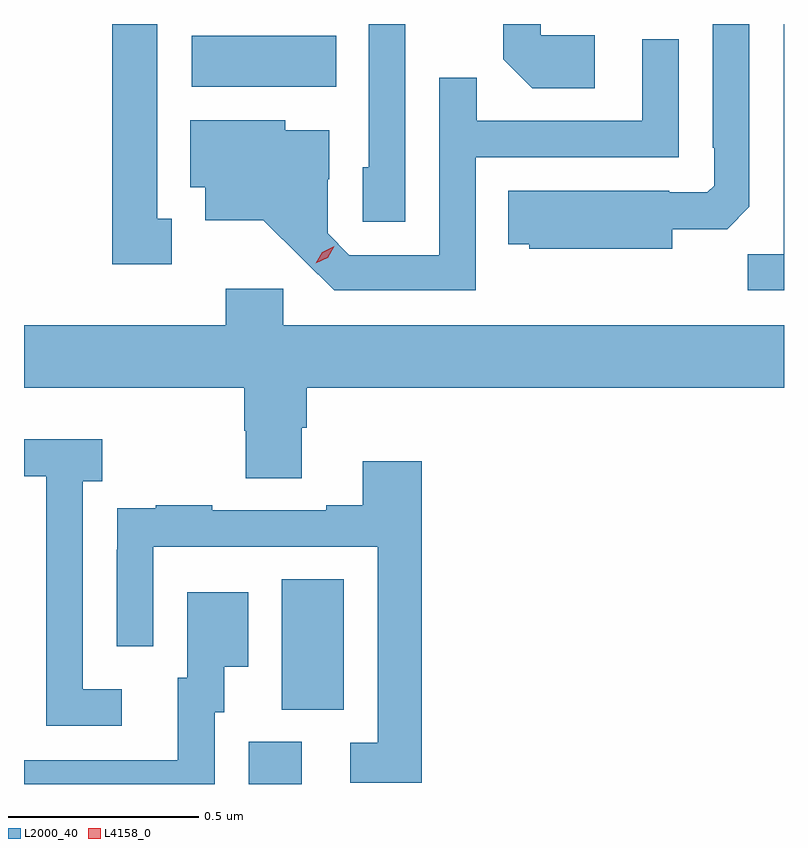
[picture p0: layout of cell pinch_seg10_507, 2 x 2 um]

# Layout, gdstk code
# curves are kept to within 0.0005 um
import gdstk
lib = gdstk.Library(unit=1e-6, precision=1e-09)
def R(c, l, rs):  # rectangles x0, y0, x1, y1
    for r in rs: c.add(gdstk.rectangle(r[:2], r[2:], *l))
def P(c, l, *ps):  # polygons
    for p in ps: c.add(gdstk.Polygon(p, *l))
L2000_40 = (2000, 40)
L4158_0 = (4158, 0)

pinch_seg10_507 = lib.new_cell('pinch_seg10_507')
R(pinch_seg10_507, L2000_40, [(293.813,1288.617,293.953,1288.728), (293.9,1288.813,294.064,1289.156), (293.664,1290.452,294.044,1290.586)])
P(pinch_seg10_507, L2000_40, [(293.611,1290.105),(293.572,1290.105),(293.572,1290.617),(293.454,1290.617),(293.454,1289.985),(293.611,1289.985)],
  [(294.724,1290.588),(294.582,1290.588),(294.582,1290.617),(294.483,1290.617),(294.483,1290.524),(294.559,1290.448),(294.724,1290.448)],
  [(294.225,1290.617),(294.129,1290.617),(294.129,1290.24),(294.114,1290.24),(294.114,1290.097),(294.225,1290.097)],
  [(294.928,1290.077),(295.072,1290.077),(295.131,1290.136),(295.131,1290.617),(295.035,1290.617),(295.035,1290.292),(295.038,1290.292),(295.038,1290.192),(295.02,1290.174),(294.92,1290.174),(294.92,1290.178),(294.496,1290.178),(294.496,1290.038),(294.552,1290.038),(294.552,1290.026),(294.928,1290.026)],
  [(295.222,1290.617),(295.221,1290.617),(295.221,1290.011),(295.126,1290.011),(295.126,1289.916),(295.222,1289.916)],
  [(294.411,1290.267),(294.945,1290.267),(294.945,1290.577),(294.849,1290.577),(294.849,1290.363),(294.413,1290.363),(294.413,1290.476),(294.315,1290.476),(294.315,1290.009),(294.078,1290.009),(294.021,1290.066),(294.021,1290.208),(294.025,1290.208),(294.025,1290.337),(293.91,1290.337),(293.91,1290.364),(293.66,1290.364),(293.66,1290.188),(293.699,1290.188),(293.699,1290.101),(293.851,1290.101),(294.038,1289.916),(294.411,1289.916)],
  [(293.953,1289.554),(293.966,1289.554),(293.966,1289.66),(295.222,1289.66),(295.222,1289.824),(293.904,1289.824),(293.904,1289.92),(293.753,1289.92),(293.753,1289.824),(293.222,1289.824),(293.222,1289.66),(293.801,1289.66),(293.801,1289.547),(293.806,1289.547),(293.806,1289.422),(293.953,1289.422)],
  [(293.479,1288.866),(293.376,1288.866),(293.376,1289.414),(293.428,1289.414),(293.428,1289.524),(293.222,1289.524),(293.222,1289.427),(293.28,1289.427),(293.28,1288.77),(293.479,1288.77)],
  [(294.269,1289.467),(294.113,1289.467),(294.113,1289.35),(294.017,1289.35),(294.017,1289.337),(293.717,1289.337),(293.717,1289.35),(293.569,1289.35),(293.569,1289.343),(293.467,1289.343),(293.467,1289.234),(293.466,1289.234),(293.466,1288.98),(293.562,1288.98),(293.562,1289.241),(294.153,1289.241),(294.153,1288.725),(294.081,1288.725),(294.081,1288.62),(294.269,1288.62)],
  [(293.724,1288.806),(293.749,1288.806),(293.749,1288.925),(293.812,1288.925),(293.812,1289.122),(293.651,1289.122),(293.651,1288.896),(293.627,1288.896),(293.627,1288.68),(293.222,1288.68),(293.222,1288.617),(293.724,1288.617)])
P(pinch_seg10_507, L4158_0, [(293.99,1289.987),(293.99,1289.987),(294.007,1290.017),(294.038,1290.032),(294.038,1290.032),(294.038,1290.032),(294.021,1290.002),(293.99,1289.987)])

lib.write_gds('pinch_seg10_507.gds')
